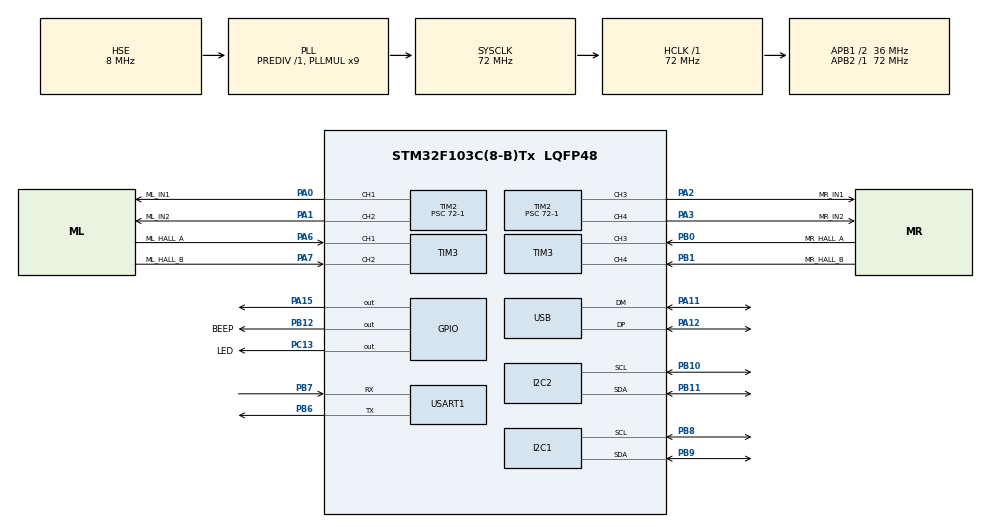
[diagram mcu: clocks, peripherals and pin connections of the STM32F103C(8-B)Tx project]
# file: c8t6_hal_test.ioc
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Dma.Request0=USART1_TX
Dma.Request1=USART1_RX
Dma.USART1_RX.1.Direction=DMA_PERIPH_TO_MEMORY
Dma.USART1_RX.1.Instance=DMA1_Channel5
Dma.USART1_RX.1.MemDataAlignment=DMA_MDATAALIGN_BYTE
Dma.USART1_RX.1.MemInc=DMA_MINC_ENABLE
Dma.USART1_RX.1.Mode=DMA_NORMAL
Dma.USART1_RX.1.PeriphDataAlignment=DMA_PDATAALIGN_BYTE
Dma.USART1_RX.1.PeriphInc=DMA_PINC_DISABLE
Dma.USART1_RX.1.Priority=DMA_PRIORITY_LOW
Dma.USART1_TX.0.Direction=DMA_MEMORY_TO_PERIPH
Dma.USART1_TX.0.Instance=DMA1_Channel4
Dma.USART1_TX.0.MemDataAlignment=DMA_MDATAALIGN_BYTE
Dma.USART1_TX.0.MemInc=DMA_MINC_ENABLE
Dma.USART1_TX.0.Mode=DMA_NORMAL
Dma.USART1_TX.0.PeriphDataAlignment=DMA_PDATAALIGN_BYTE
Dma.USART1_TX.0.PeriphInc=DMA_PINC_DISABLE
Dma.USART1_TX.0.Priority=DMA_PRIORITY_LOW
I2C1.DutyCycle=I2C_DUTYCYCLE_2
I2C1.I2C_Mode=I2C_Fast
I2C2.I2C_Mode=I2C_Fast
Mcu.Family=STM32F1
Mcu.Name=STM32F103C(8-B)Tx
Mcu.Package=LQFP48
NVIC.DMA1_Channel4_IRQn=true\:0\:0\:false\:false\:true\:false\:true\:true
NVIC.DMA1_Channel5_IRQn=true\:0\:0\:false\:false\:true\:false\:true\:true
NVIC.PriorityGroup=NVIC_PRIORITYGROUP_4
NVIC.TIM3_IRQn=true\:0\:0\:false\:false\:true\:true\:true\:true
NVIC.TIM4_IRQn=true\:0\:0\:false\:false\:true\:true\:true\:true
NVIC.USART1_IRQn=true\:0\:0\:false\:false\:true\:false\:true\:true
PA0-WKUP.GPIO_Label=ML_IN1
PA0-WKUP.Signal=S_TIM2_CH1_ETR
PA1.GPIO_Label=ML_IN2
PA1.Signal=S_TIM2_CH2
PA11.Mode=Device
PA11.Signal=USB_DM
PA12.Mode=Device
PA12.Signal=USB_DP
PA13.Mode=Serial_Wire
PA13.Signal=SYS_JTMS-SWDIO
PA14.Mode=Serial_Wire
PA14.Signal=SYS_JTCK-SWCLK
PA15.Signal=GPIO_Output
PA2.GPIO_Label=MR_IN1
PA2.Signal=S_TIM2_CH3
PA3.GPIO_Label=MR_IN2
PA3.Signal=S_TIM2_CH4
PA6.GPIO_Label=ML_HALL_A
PA6.GPIO_PuPd=GPIO_PULLDOWN
PA6.Signal=S_TIM3_CH1
PA7.GPIO_Label=ML_HALL_B
PA7.GPIO_PuPd=GPIO_PULLDOWN
PA7.Signal=S_TIM3_CH2
PB0.GPIO_Label=MR_HALL_A
PB0.GPIO_PuPd=GPIO_PULLDOWN
PB0.Signal=S_TIM3_CH3
PB1.GPIO_Label=MR_HALL_B
PB1.GPIO_PuPd=GPIO_PULLDOWN
PB1.Signal=S_TIM3_CH4
PB10.Mode=I2C
PB10.Signal=I2C2_SCL
PB11.Mode=I2C
PB11.Signal=I2C2_SDA
PB12.GPIO_Label=BEEP
PB12.GPIO_Speed=GPIO_SPEED_FREQ_LOW
PB12.Signal=GPIO_Output
PB6.Mode=Asynchronous
PB6.Signal=USART1_TX
PB7.Mode=Asynchronous
PB7.Signal=USART1_RX
PB8.Mode=I2C
PB8.Signal=I2C1_SCL
PB9.Mode=I2C
PB9.Signal=I2C1_SDA
PC13-TAMPER-RTC.GPIO_Label=LED
PC13-TAMPER-RTC.Signal=GPIO_Output
PD0-OSC_IN.Mode=HSE-External-Oscillator
PD0-OSC_IN.Signal=RCC_OSC_IN
PD1-OSC_OUT.Mode=HSE-External-Oscillator
PD1-OSC_OUT.Signal=RCC_OSC_OUT
ProjectManager.HeapSize=0x200
ProjectManager.StackSize=0x400
ProjectManager.TargetToolchain=MDK-ARM V5.32
RCC.AHBFreq_Value=72000000
RCC.APB1CLKDivider=RCC_HCLK_DIV2
RCC.APB1Freq_Value=36000000
RCC.APB1TimFreq_Value=72000000
RCC.APB2Freq_Value=72000000
RCC.APB2TimFreq_Value=72000000
RCC.HCLKFreq_Value=72000000
RCC.PLLMUL=RCC_PLL_MUL9
RCC.PLLSourceVirtual=RCC_PLLSOURCE_HSE
RCC.SYSCLKFreq_VALUE=72000000
RCC.SYSCLKSource=RCC_SYSCLKSOURCE_PLLCLK
RCC.USBFreq_Value=48000000
RCC.USBPrescaler=RCC_USBCLKSOURCE_PLL_DIV1_5
SH.S_TIM2_CH1_ETR.0=TIM2_CH1,PWM Generation1 CH1
SH.S_TIM2_CH2.0=TIM2_CH2,PWM Generation2 CH2
SH.S_TIM2_CH3.0=TIM2_CH3,PWM Generation3 CH3
SH.S_TIM2_CH4.0=TIM2_CH4,PWM Generation4 CH4
SH.S_TIM3_CH1.0=TIM3_CH1,Input_Capture1_from_TI1
SH.S_TIM3_CH2.0=TIM3_CH2,Input_Capture2_from_TI2
SH.S_TIM3_CH3.0=TIM3_CH3,Input_Capture3_from_TI3
SH.S_TIM3_CH4.0=TIM3_CH4,Input_Capture4_from_TI4
TIM2.AutoReloadPreload=TIM_AUTORELOAD_PRELOAD_ENABLE
TIM2.Channel-PWM\ Generation1\ CH1=TIM_CHANNEL_1
TIM2.Channel-PWM\ Generation2\ CH2=TIM_CHANNEL_2
TIM2.Channel-PWM\ Generation3\ CH3=TIM_CHANNEL_3
TIM2.Channel-PWM\ Generation4\ CH4=TIM_CHANNEL_4
TIM2.Period=500-1
TIM2.Prescaler=72-1
TIM3.AutoReloadPreload=TIM_AUTORELOAD_PRELOAD_ENABLE
TIM3.Channel-Input_Capture1_from_TI1=TIM_CHANNEL_1
TIM3.Channel-Input_Capture2_from_TI2=TIM_CHANNEL_2
TIM3.Channel-Input_Capture3_from_TI3=TIM_CHANNEL_3
TIM3.Channel-Input_Capture4_from_TI4=TIM_CHANNEL_4
TIM4.AutoReloadPreload=TIM_AUTORELOAD_PRELOAD_ENABLE
TIM4.Channel-PWM\ Generation1\ No\ Output=TIM_CHANNEL_1
TIM4.Period=100-1
TIM4.Prescaler=1440-1
USART1.VirtualMode=VM_ASYNC
VP_TIM2_VS_ClockSourceINT.Mode=Internal
VP_TIM3_VS_ClockSourceINT.Mode=Internal
VP_TIM4_VS_ClockSourceINT.Mode=Internal
VP_TIM4_VS_no_output1.Mode=PWM Generation1 No Output
board=custom

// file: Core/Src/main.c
/* USER CODE BEGIN Header */
/**
  ******************************************************************************
  * @file           : main.c
  * @brief          : Main program body
  ******************************************************************************
  * @attention
  *
  * Copyright (c) 2025 STMicroelectronics.
  * All rights reserved.
  *
  * This software is licensed under terms that can be found in the LICENSE file
  * in the root directory of this software component.
  * If no LICENSE file comes with this software, it is provided AS-IS.
  *
  ******************************************************************************
  */
/* USER CODE END Header */
#include "main.h"
#include "dma.h"
#include "i2c.h"
#include "tim.h"
#include "usart.h"
#include "usb.h"
#include "gpio.h"

/* USER CODE BEGIN Includes */
#include "stdio.h"
#include "oled.h"
#include "beep.h"
/* USER CODE END Includes */

void SystemClock_Config(void);

int main(void)
{

    /* MCU Configuration--------------------------------------------------------*/

    /* Reset of all peripherals, Initializes the Flash interface and the Systick. */
    HAL_Init();

    /* Configure the system clock */
    SystemClock_Config();

    /* Initialize all configured peripherals */
    MX_GPIO_Init();
    MX_DMA_Init();
    MX_USART1_UART_Init();
    MX_I2C1_Init();
    MX_TIM2_Init();
    MX_TIM3_Init();
    MX_I2C2_Init();
    MX_TIM4_Init();
    MX_USB_PCD_Init();
    /* USER CODE BEGIN 2 */
    HAL_TIM_PWM_Start(&htim2, TIM_CHANNEL_1);  // 启动 PWM 输出
    HAL_TIM_PWM_Start(&htim2, TIM_CHANNEL_2);  // 启动 PWM 输出
    HAL_TIM_PWM_Start(&htim2, TIM_CHANNEL_3);  // 启动 PWM 输出
    HAL_TIM_PWM_Start(&htim2, TIM_CHANNEL_4);  // 启动 PWM 输出

    HAL_TIM_Base_Start_IT(&htim3);
    HAL_TIM_IC_Start_IT(&htim3, TIM_CHANNEL_1);
    HAL_TIM_IC_Start_IT(&htim3, TIM_CHANNEL_2);
    HAL_TIM_IC_Start_IT(&htim3, TIM_CHANNEL_3);
    HAL_TIM_IC_Start_IT(&htim3, TIM_CHANNEL_4);

    OLED_Init();
    OLED_ColorTurn(0);
    OLED_DisplayTurn(0);

    beep_init();
    beep_start();
    beep_set_volume(50);
//    HAL_Delay(300);
//    beep_stop();

    /* USER CODE END 2 */

    /* Infinite loop */
    /* USER CODE BEGIN WHILE */

    char oled_str[32];
    uint8_t volume=100;
//    uint8_t x,y;
    while (1)
    {
        uint32_t system_time = HAL_GetTick();
        beep_music();

        if(system_time % 500 == 0) {
            HAL_GPIO_TogglePin(LED_GPIO_Port,LED_Pin);

            sprintf(oled_str,"PITCH:");
            OLED_ShowString(0,0,(uint8_t*)oled_str,12,1);
            sprintf(oled_str,"ROLL:");
            OLED_ShowString(0,12,(uint8_t*)oled_str,12,1);
            sprintf(oled_str,"YAW:");
            OLED_ShowString(0,24,(uint8_t*)oled_str,12,1);
            OLED_Refresh();
        }
        /* USER CODE END WHILE */

    }
}

void SystemClock_Config(void)
{
    RCC_OscInitTypeDef RCC_OscInitStruct = {0};
    RCC_ClkInitTypeDef RCC_ClkInitStruct = {0};
    RCC_PeriphCLKInitTypeDef PeriphClkInit = {0};

    /** Initializes the RCC Oscillators according to the specified parameters
    * in the RCC_OscInitTypeDef structure.
    */
    RCC_OscInitStruct.OscillatorType = RCC_OSCILLATORTYPE_HSE;
    RCC_OscInitStruct.HSEState = RCC_HSE_ON;
    RCC_OscInitStruct.HSEPredivValue = RCC_HSE_PREDIV_DIV1;
    RCC_OscInitStruct.HSIState = RCC_HSI_ON;
    RCC_OscInitStruct.PLL.PLLState = RCC_PLL_ON;
    RCC_OscInitStruct.PLL.PLLSource = RCC_PLLSOURCE_HSE;
    RCC_OscInitStruct.PLL.PLLMUL = RCC_PLL_MUL9;
    if (HAL_RCC_OscConfig(&RCC_OscInitStruct) != HAL_OK)
    {
        Error_Handler();
    }

    /** Initializes the CPU, AHB and APB buses clocks
    */
    RCC_ClkInitStruct.ClockType = RCC_CLOCKTYPE_HCLK|RCC_CLOCKTYPE_SYSCLK
                                  |RCC_CLOCKTYPE_PCLK1|RCC_CLOCKTYPE_PCLK2;
    RCC_ClkInitStruct.SYSCLKSource = RCC_SYSCLKSOURCE_PLLCLK;
    RCC_ClkInitStruct.AHBCLKDivider = RCC_SYSCLK_DIV1;
    RCC_ClkInitStruct.APB1CLKDivider = RCC_HCLK_DIV2;
    RCC_ClkInitStruct.APB2CLKDivider = RCC_HCLK_DIV1;

    if (HAL_RCC_ClockConfig(&RCC_ClkInitStruct, FLASH_LATENCY_2) != HAL_OK)
    {
        Error_Handler();
    }
    PeriphClkInit.PeriphClockSelection = RCC_PERIPHCLK_USB;
    PeriphClkInit.UsbClockSelection = RCC_USBCLKSOURCE_PLL_DIV1_5;
    if (HAL_RCCEx_PeriphCLKConfig(&PeriphClkInit) != HAL_OK)
    {
        Error_Handler();
    }
}

/* USER CODE BEGIN 4 */

void HAL_TIM_IC_CaptureCallback(TIM_HandleTypeDef *htim)
{
    if(htim->Instance == TIM3)
    {
        switch(htim->Channel)
        {
        case HAL_TIM_ACTIVE_CHANNEL_1:
            break;
        case HAL_TIM_ACTIVE_CHANNEL_2:
            break;
        case HAL_TIM_ACTIVE_CHANNEL_3:
            break;
        case HAL_TIM_ACTIVE_CHANNEL_4:
            break;
        default:
            break;
        }
    }
}

/* USER CODE END 4 */

void Error_Handler(void)
{
    __disable_irq();
    while (1)
    {
    }
}
